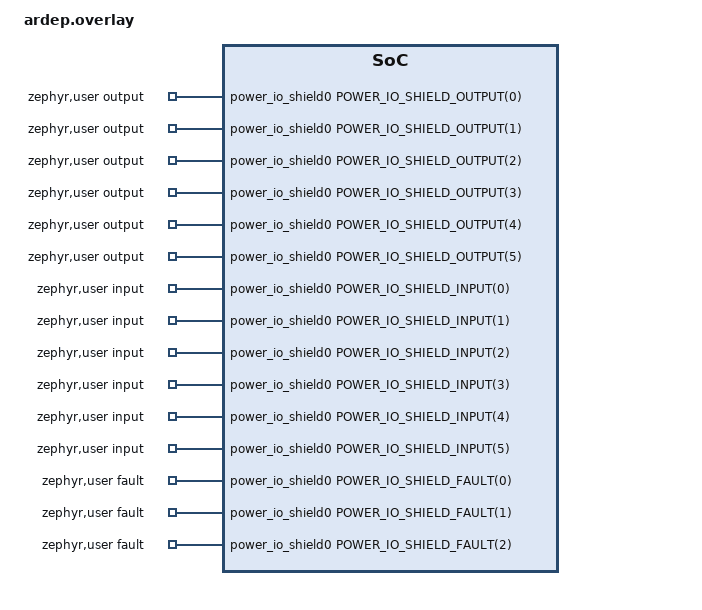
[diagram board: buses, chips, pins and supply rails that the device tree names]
/*
 * Copyright (C) Frickly Systems GmbH
 * Copyright (C) MBition GmbH
 *
 * SPDX-License-Identifier: Apache-2.0
 */

#include <ardep/dt-bindings/power-io-shield.h>

/ {
  zephyr,user{
    output-gpios = <&power_io_shield0 POWER_IO_SHIELD_OUTPUT(0) 0>,
                   <&power_io_shield0 POWER_IO_SHIELD_OUTPUT(1) 0>,
                   <&power_io_shield0 POWER_IO_SHIELD_OUTPUT(2) 0>,
                   <&power_io_shield0 POWER_IO_SHIELD_OUTPUT(3) 0>,
                   <&power_io_shield0 POWER_IO_SHIELD_OUTPUT(4) 0>,
                   <&power_io_shield0 POWER_IO_SHIELD_OUTPUT(5) 0>;

    input-gpios = <&power_io_shield0 POWER_IO_SHIELD_INPUT(0) 0>,
                  <&power_io_shield0 POWER_IO_SHIELD_INPUT(1) 0>,
                  <&power_io_shield0 POWER_IO_SHIELD_INPUT(2) 0>,
                  <&power_io_shield0 POWER_IO_SHIELD_INPUT(3) 0>,
                  <&power_io_shield0 POWER_IO_SHIELD_INPUT(4) 0>,
                  <&power_io_shield0 POWER_IO_SHIELD_INPUT(5) 0>;

    fault-gpios = <&power_io_shield0 POWER_IO_SHIELD_FAULT(0) 0>,
                  <&power_io_shield0 POWER_IO_SHIELD_FAULT(1) 0>,
                  <&power_io_shield0 POWER_IO_SHIELD_FAULT(2) 0>;
  };
};
